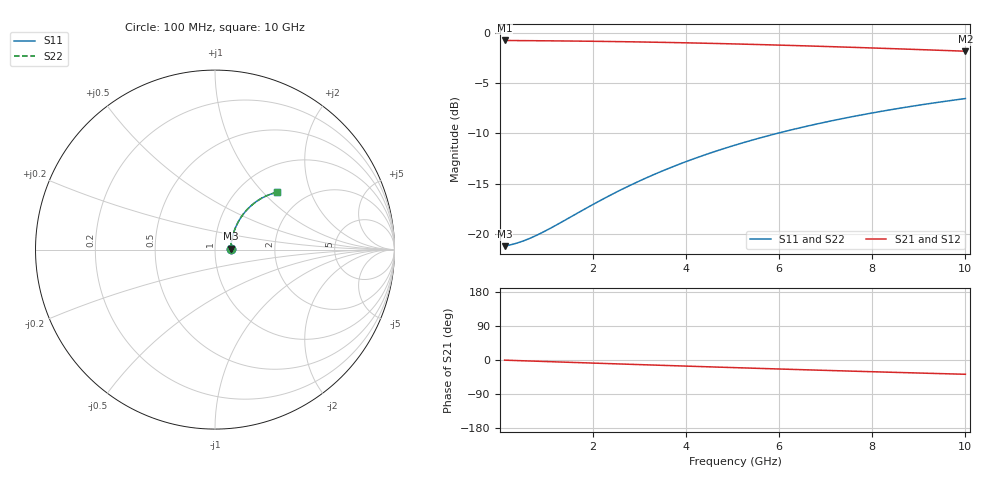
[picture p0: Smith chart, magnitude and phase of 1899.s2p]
# Hz S RI R 50.00
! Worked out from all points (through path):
!   100 points, 100 MHz to 10 GHz, reference 50 ohm
!   highest |S21| = -0.79 dB at 100 MHz (marker M1); lowest = -1.9 dB at 10 GHz (marker M2)
!   group delay of S21, straight-line fit = 10.5 ps
!   lowest |S11| = -21.2 dB at 100 MHz (marker M3), VSWR 1.19, Z = 59.5 + j0.578 ohm
!   |S11| at or under -10 dB: start of sweep to 5.974 GHz
!   |S22| runs from -21.2 to -6.6 dB; largest |S21 - S12| = 0
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1e8  0.0867 0.00482  0.9133 -0.00654  0.9133 -0.00654  0.0867 0.00482
3e8  0.0879 0.0144  0.9121 -0.0196  0.9121 -0.0196  0.0879 0.0144
4e8  0.0884 0.0192  0.9115 -0.0261  0.9115 -0.0261  0.0884 0.0192
6e8  0.0896 0.0288  0.9103 -0.0391  0.9103 -0.0391  0.0896 0.0288
8e8  0.091 0.0383  0.9089 -0.052  0.9089 -0.052  0.091 0.0383
1.2e9  0.0943 0.0571  0.9055 -0.0777  0.9055 -0.0777  0.0943 0.0571
1.8e9  0.1011 0.0848  0.8984 -0.1158  0.8984 -0.1158  0.1011 0.0848
2.2e9  0.1068 0.1029  0.8925 -0.1407  0.8925 -0.1407  0.1068 0.1029
2.6e9  0.1134 0.1205  0.8855 -0.1652  0.8855 -0.1652  0.1134 0.1205
3e9  0.121 0.1376  0.8776 -0.1892  0.8776 -0.1892  0.121 0.1376
3.4e9  0.1294 0.1541  0.8688 -0.2126  0.8688 -0.2126  0.1294 0.1541
3.8e9  0.1386 0.17  0.8591 -0.2355  0.8591 -0.2355  0.1386 0.17
4.2e9  0.1486 0.1853  0.8486 -0.2577  0.8486 -0.2577  0.1486 0.1853
4.6e9  0.1593 0.1999  0.8373 -0.2792  0.8373 -0.2792  0.1593 0.1999
5.1e9  0.1737 0.2171  0.8222 -0.3051  0.8222 -0.3051  0.1737 0.2171
5.5e9  0.1858 0.23  0.8094 -0.3249  0.8094 -0.3249  0.1858 0.23
5.9e9  0.1984 0.2421  0.7961 -0.344  0.7961 -0.344  0.1984 0.2421
6.7e9  0.2251 0.2639  0.7678 -0.3798  0.7678 -0.3798  0.2251 0.2639
7.5e9  0.2531 0.2823  0.738 -0.4123  0.738 -0.4123  0.2531 0.2823
8.4e9  0.2857 0.2992  0.7031 -0.445  0.7031 -0.445  0.2857 0.2992
9.2e9  0.3152 0.3108  0.6713 -0.4708  0.6713 -0.4708  0.3152 0.3108
1e10  0.3448 0.3193  0.6392 -0.4935  0.6392 -0.4935  0.3448 0.3193
